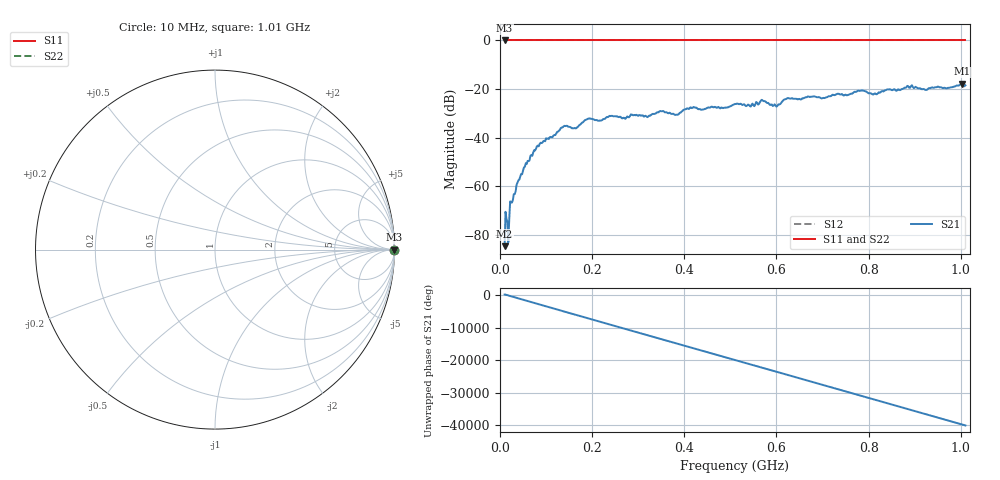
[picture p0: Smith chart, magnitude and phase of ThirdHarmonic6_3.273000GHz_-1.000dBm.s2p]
! 8/17/2025 10:08:00 AM
! C:\ANRITSUVNA\TEMP\TEMP.S2P
! CHANNEL.1
! TR.MEASUREMENT
! RAW.DATA
! RF.CORRECTION.OFF
! AVERAGING.OFF
! IF.BANDWIDTH: 5KHZ
! SWEEPTYPE:  FREQ.SWEEP(Linear)
! Reference Plane Port Info
! PORT:  PORT1  PORT2
! DISTANCE:  0  m  0  m
! TIME:  0  s  0  s
! PHASE.OFFSET:  0  deg.  0  deg.
! LOSS:  0  dB  0  dB
! REF.LOSS:  0  dB  0  dB
! REF.FREQ:  0  Hz  0  Hz
! Power Info
! POWER:  -20  dBm  -20  dBm
! EFF.POWER:  -20  dBm  -20  dBm
! SOURCE.ATTEN:  0  dB  0  dB
! TEST.ATTEN:  0  dB  0  dB
# GHZ S RI R 50.0
! FREQ.GHZ  S11RE  S11IM  S21RE  S21IM  S12RE  S12IM  S22RE  S22IM
!; PortSelection: Port_12
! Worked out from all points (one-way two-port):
!   501 points, 10 MHz to 1.01 GHz, reference 50 ohm
!   highest |S21| = -17.78 dB at 1.002 GHz (marker M1); lowest = -84.7 dB at 10 MHz (marker M2)
!   lowest |S11| = 0.0 dB at 10 MHz (marker M3)
!   |S11| at or under -10 dB: nowhere
!   |S22| runs from 0.0 to 0.0 dB; largest |S21 - S12| = 1.1
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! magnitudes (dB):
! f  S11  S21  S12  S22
! 10 MHz  0.0  -84.7  0.0  0.0
! 18 MHz  0.0  -83.1  0.0  0.0
! 26 MHz  0.0  -66.7  0.0  0.0
! 40 MHz  0.0  -57.6  0.0  0.0
! 78 MHz  0.0  -44.6  0.0  0.0
! 136 MHz  0.0  -35.8  0.0  0.0
! 162 MHz  0.0  -36.0  0.0  0.0
! 178 MHz  0.0  -33.8  0.0  0.0
! 344 MHz  0.0  -29.6  0.0  0.0
! 384 MHz  0.0  -30.5  0.0  0.0
! 416 MHz  0.0  -27.8  0.0  0.0
! 510 MHz  0.0  -26.2  0.0  0.0
! 548 MHz  0.0  -26.0  0.0  0.0
! 570 MHz  0.0  -24.7  0.0  0.0
! 598 MHz  0.0  -26.7  0.0  0.0
! 622 MHz  0.0  -24.0  0.0  0.0
! 678 MHz  0.0  -23.1  0.0  0.0
! 782 MHz  0.0  -20.7  0.0  0.0
! 814 MHz  0.0  -21.8  0.0  0.0
! 844 MHz  0.0  -20.1  0.0  0.0
! 1.002 GHz  0.0  -17.8  0.0  0.0
! 1.01 GHz  0.0  -18.5  0.0  0.0
